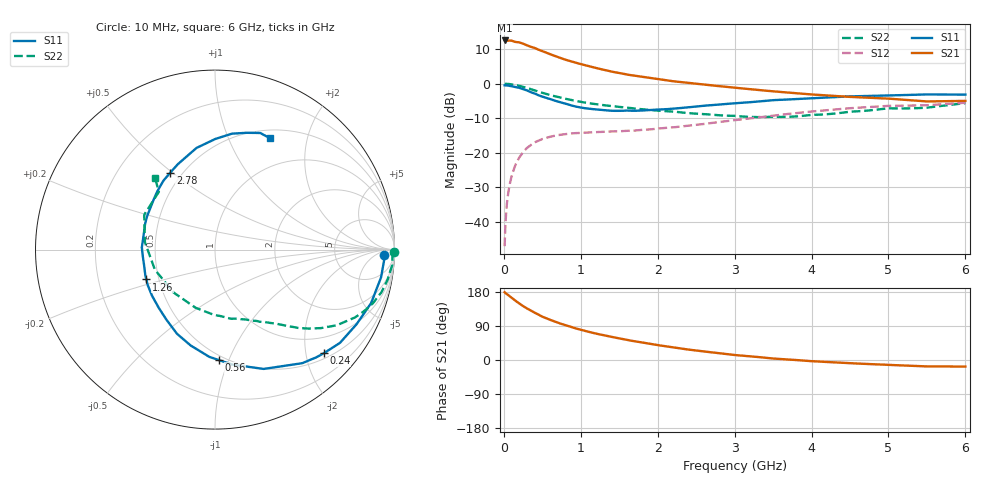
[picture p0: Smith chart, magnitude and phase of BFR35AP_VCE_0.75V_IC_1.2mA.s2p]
! Infineon Technologies  Discrete & RF Semiconductors
! BFR35AP
! VCE = 0.75 V,  IC =  1.2 mA
! Common Emitter S-Parameters:  Nov 2015
# GHz  S  MA  R  50
!  f  S11  S21  S12  S22
! GHz  MAG  ANG  MAG  ANG  MAG  ANG  MAG  ANG
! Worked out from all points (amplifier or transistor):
!   210 points, 10 MHz to 6 GHz, reference 50 ohm
!   highest |S21| = 12.4 dB at 10 MHz (marker M1)
!   |S21| within 3 dB of that: start of sweep to 490.4 MHz
!   unconditionally stable (mu >= 1): 1.25 GHz to end of sweep
!   at 185 MHz: K = 0.18, MSG = 16.9 dB, |S12| = -22.0 dB
!   at 1.52 GHz: K = 1.15, MAG = 6.0 dB, |S12| = -13.7 dB
!   at 6 GHz: K = 1.09, MAG = -1.6 dB, |S12| = -5.6 dB
!   S11 on the Smith chart (normalised r, x): 10 MHz: 27, -14; 240 MHz: 0.61, -2.36; 560 MHz: 0.46, -0.92; 1.26 GHz: 0.43, -0.17; 2.78 GHz: 0.43, +0.49; 6 GHz: 0.60, +1.43
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0.01  0.9437 -1.8  4.187 178.8  0.0045 88.7  0.9975 -0.9
0.02  0.9434 -4.0  4.121 176.8  0.0089 87.2  0.9894 -2.0
0.035  0.9396 -6.7  4.144 174.5  0.016 84.4  0.9901 -3.5
0.075  0.9256 -14.2  4.161 168.5  0.0343 79.9  0.983 -7.3
0.1  0.9195 -18.9  4.166 164.7  0.0455 78.1  0.9763 -9.8
0.15  0.8916 -27.8  3.986 156.3  0.0665 72.5  0.9573 -14.4
0.24  0.8373 -43.6  3.8 143.6  0.0988 63.2  0.9029 -21.9
0.3  0.7978 -52.5  3.562 136.0  0.1177 58.3  0.865 -26.0
0.4  0.7181 -67.8  3.265 124.9  0.1415 50.9  0.7994 -31.8
0.5  0.648 -81.4  2.937 114.3  0.1582 44.7  0.7352 -36.5
0.56  0.6153 -88.1  2.761 109.5  0.1654 41.9  0.7029 -38.7
0.7  0.5513 -104.2  2.421 98.4  0.1801 36.3  0.6411 -43.0
0.8  0.5146 -114.3  2.208 91.6  0.1867 33.5  0.6028 -45.4
1.02  0.4468 -135.9  1.884 78.7  0.1944 29.5  0.5392 -50.1
1.26  0.4172 -156.5  1.615 67.0  0.2006 27.2  0.4933 -55.0
1.6  0.4078 178.3  1.348 52.8  0.2081 26.8  0.4497 -61.8
2.02  0.422 153.0  1.15 38.7  0.225 29.1  0.4049 -71.9
2.78  0.4959 120.2  0.922 18.4  0.2771 30.9  0.3499 -98.3
3.1  0.528 110.6  0.85 11.5  0.3053 29.7  0.3345 -113.3
4.1  0.6221 88.3  0.685 -4.1  0.4036 21.3  0.3555 -166.8
5.1  0.678 73.6  0.595 -13.7  0.4777 8.1  0.4372 149.8
6  0.692 63.8  0.562 -17.3  0.5278 -1.9  0.5217 129.9
